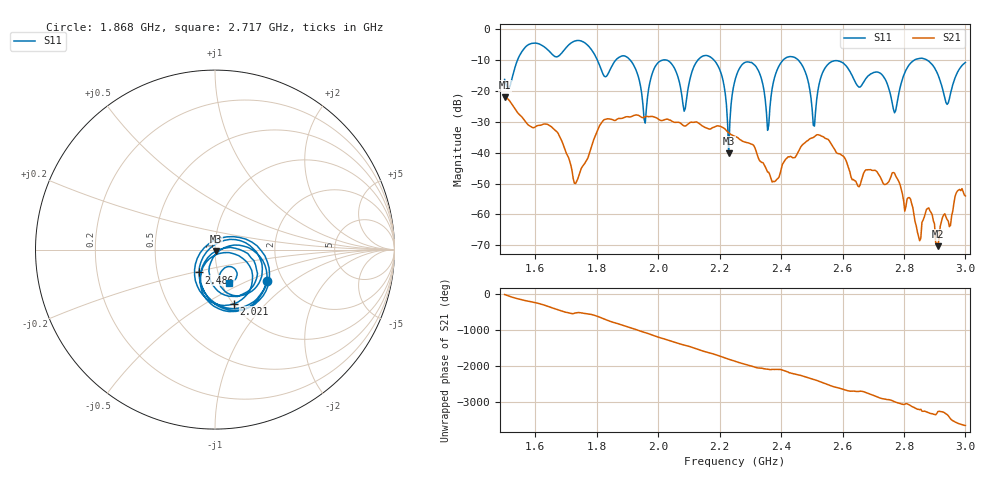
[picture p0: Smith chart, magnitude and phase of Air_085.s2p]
# HZ S RI R 50
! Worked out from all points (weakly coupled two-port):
!   404 points, 1.5 GHz to 3 GHz, reference 50 ohm
!   highest |S21| = -22.06 dB at 1.5 GHz (marker M1); lowest = -70.3 dB at 2.911 GHz (marker M2)
!   lowest |S11| = -40.1 dB at 2.23 GHz (marker M3), VSWR 1.02, Z = 50.6 - j0.822 ohm
!   |S11| at or under -10 dB: 2.182 GHz to 2.406 GHz (224.7 MHz wide, 9.79 % of centre); 2.456 GHz to 2.834 GHz (377.4 MHz wide, 14.3 % of centre); 2.875 GHz to end of sweep (the widest 3 of 7)
!   S12 and S22 are empty: the file has one direction only
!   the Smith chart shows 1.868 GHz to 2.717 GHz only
!   S11 on the Smith chart (normalised r, x): 1.868 GHz: 1.66, -0.66; 2.021 GHz: 1.01, -0.68; 2.486 GHz: 0.81, -0.21; 2.717 GHz: 1.09, -0.42
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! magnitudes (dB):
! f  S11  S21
! 1.5 GHz  -16.3  -22.1
! 1.578 GHz  -4.9  -31.1
! 1.753 GHz  -3.9  -44.5
! 1.868 GHz  -9.4  -29.0
! 1.958 GHz  -30.4  -28.3
! 2.002 GHz  -10.6  -29.3
! 2.021 GHz  -9.9  -29.3
! 2.084 GHz  -26.5  -31.3
! 2.177 GHz  -9.6  -31.9
! 2.23 GHz  -40.1  -33.6
! 2.252 GHz  -15.8  -34.8
! 2.315 GHz  -11.7  -38.5
! 2.356 GHz  -32.7  -46.3
! 2.378 GHz  -15.8  -49.4
! 2.486 GHz  -16.2  -36.1
! 2.501 GHz  -26.0  -35.2
! 2.565 GHz  -10.5  -37.4
! 2.717 GHz  -14.0  -47.0
! 2.751 GHz  -19.2  -49.4
! 2.911 GHz  -14.7  -70.3
! 2.94 GHz  -24.3  -61.6
! 3 GHz  -10.7  -54.0
